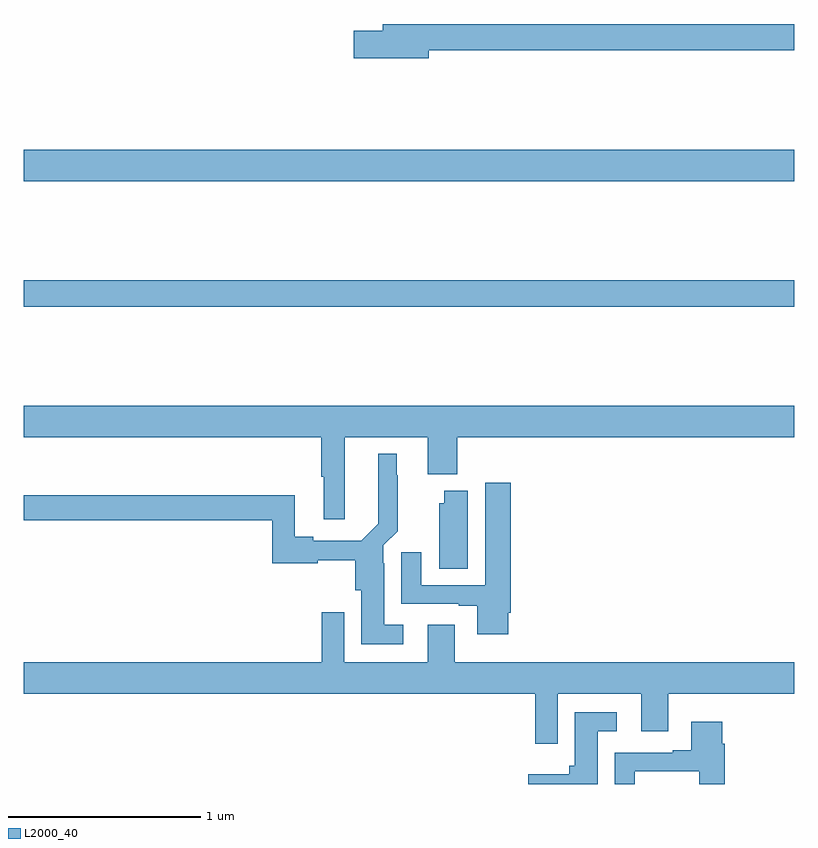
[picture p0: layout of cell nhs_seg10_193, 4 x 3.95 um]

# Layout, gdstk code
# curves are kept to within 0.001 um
import gdstk
lib = gdstk.Library(unit=1e-6, precision=1e-09)
def R(c, l, rs):  # rectangles x0, y0, x1, y1
    for r in rs: c.add(gdstk.rectangle(r[:2], r[2:], *l))
def P(c, l, *ps):  # polygons
    for p in ps: c.add(gdstk.Polygon(p, *l))
L2000_40 = (2000, 40)

nhs_seg10_193 = lib.new_cell('nhs_seg10_193')
R(nhs_seg10_193, L2000_40, [(119,1316.98,123,1317.116), (119,1317.632,123,1317.796)])
P(nhs_seg10_193, L2000_40, [(121.102,1318.312),(123,1318.312),(123,1318.448),(120.863,1318.448),(120.863,1318.412),(120.714,1318.412),(120.714,1318.27),(121.102,1318.27)],
  [(120.667,1316.3),(121.097,1316.3),(121.097,1316.108),(121.25,1316.108),(121.25,1316.3),(123,1316.3),(123,1316.464),(119,1316.464),(119,1316.3),(120.545,1316.3),(120.545,1316.096),(120.557,1316.096),(120.557,1315.875),(120.667,1315.875)],
  [(120.97,1315.327),(120.871,1315.327),(120.871,1315.646),(120.867,1315.646),(120.867,1315.74),(120.941,1315.814),(120.941,1316.105),(120.937,1316.105),(120.937,1316.215),(120.839,1316.215),(120.84,1315.852),(120.752,1315.764),(120.502,1315.764),(120.502,1315.784),(120.406,1315.784),(120.406,1315.999),(119,1315.999),(119,1315.87),(120.289,1315.87),(120.289,1315.648),(120.525,1315.648),(120.525,1315.663),(120.722,1315.663),(120.722,1315.506),(120.752,1315.506),(120.752,1315.226),(120.97,1315.226)],
  [(121.516,1315.39),(121.529,1315.39),(121.529,1316.065),(121.397,1316.065),(121.397,1315.533),(121.063,1315.533),(121.063,1315.705),(120.959,1315.705),(120.959,1315.437),(121.259,1315.437),(121.259,1315.425),(121.355,1315.425),(121.355,1315.278),(121.516,1315.278)],
  [(121.306,1316.023),(121.184,1316.023),(121.184,1315.959),(121.157,1315.959),(121.157,1315.618),(121.306,1315.618)],
  [(121.773,1314.968),(122.207,1314.968),(122.207,1314.774),(122.347,1314.774),(122.347,1314.968),(123,1314.968),(123,1315.132),(121.237,1315.132),(121.237,1315.327),(121.097,1315.327),(121.097,1315.132),(120.663,1315.132),(120.663,1315.393),(120.547,1315.393),(120.547,1315.132),(119,1315.132),(119,1314.968),(121.657,1314.968),(121.657,1314.708),(121.773,1314.708)],
  [(121.981,1314.773),(122.08,1314.773),(122.08,1314.874),(121.862,1314.874),(121.862,1314.594),(121.832,1314.594),(121.832,1314.55),(121.62,1314.55),(121.62,1314.5),(121.981,1314.5)],
  [(122.173,1314.567),(122.507,1314.567),(122.507,1314.5),(122.639,1314.5),(122.639,1314.71),(122.626,1314.71),(122.626,1314.823),(122.465,1314.823),(122.465,1314.676),(122.369,1314.676),(122.369,1314.663),(122.069,1314.663),(122.069,1314.5),(122.173,1314.5)])

lib.write_gds('nhs_seg10_193.gds')
